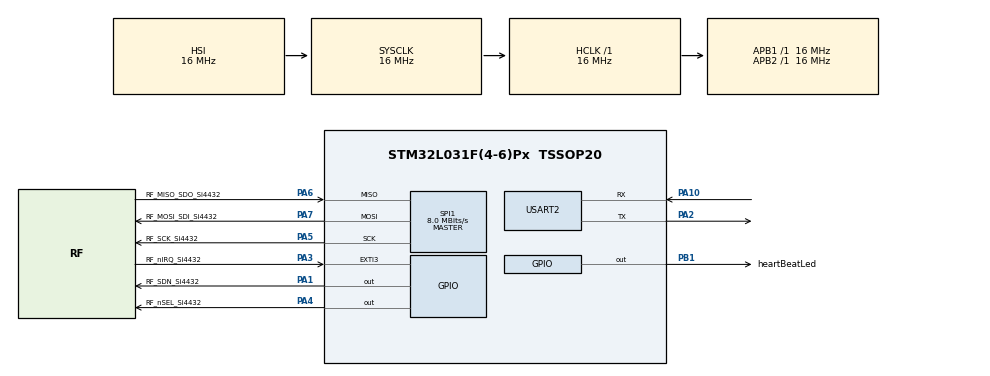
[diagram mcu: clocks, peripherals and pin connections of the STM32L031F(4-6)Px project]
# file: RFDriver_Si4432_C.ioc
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Mcu.Family=STM32L0
Mcu.Name=STM32L031F(4-6)Px
Mcu.Package=TSSOP20
Mcu.UserConstants=debugUart,$$_USART2_IP_HANDLE_$$;THS_RTC_I2C,$$_I2C1_IP_HANDLE_$$;RF_SPI,$$_SPI1_IP_HANDLE_$$
NVIC.EXTI2_3_IRQn=true\:0\:0\:false\:false\:true\:true\:true\:true
PA1.GPIO_Label=RF_SDN_Si4432
PA1.GPIO_PuPd=GPIO_PULLUP
PA1.Signal=GPIO_Output
PA10.Mode=Asynchronous
PA10.Signal=USART2_RX
PA13.Mode=Serial_Wire
PA13.Signal=SYS_SWDIO
PA14.Mode=Serial_Wire
PA14.Signal=SYS_SWCLK
PA2.Mode=Asynchronous
PA2.Signal=USART2_TX
PA3.GPIO_Label=RF_nIRQ_Si4432
PA3.GPIO_ModeDefaultEXTI=GPIO_MODE_IT_FALLING
PA3.GPIO_PuPd=GPIO_PULLUP
PA3.Signal=GPXTI3
PA4.GPIO_Label=RF_nSEL_Si4432
PA4.Signal=GPIO_Output
PA5.GPIO_Label=RF_SCK_Si4432
PA5.Mode=Full_Duplex_Master
PA5.Signal=SPI1_SCK
PA6.GPIO_Label=RF_MISO_SDO_Si4432
PA6.GPIO_PuPd=GPIO_PULLUP
PA6.Mode=Full_Duplex_Master
PA6.Signal=SPI1_MISO
PA7.GPIO_Label=RF_MOSI_SDI_Si4432
PA7.Mode=Full_Duplex_Master
PA7.Signal=SPI1_MOSI
PB1.GPIO_Label=heartBeatLed
PB1.Signal=GPIO_Output
PC14-OSC32_IN.Mode=LSE-External-Oscillator
PC14-OSC32_IN.Signal=RCC_OSC32_IN
PC15-OSC32_OUT.Mode=LSE-External-Oscillator
PC15-OSC32_OUT.Signal=RCC_OSC32_OUT
ProjectManager.HeapSize=0x200
ProjectManager.StackSize=0x400
ProjectManager.TargetToolchain=STM32CubeIDE
RCC.AHBFreq_Value=16000000
RCC.APB1Freq_Value=16000000
RCC.APB1TimFreq_Value=16000000
RCC.APB2Freq_Value=16000000
RCC.APB2TimFreq_Value=16000000
RCC.HCLKFreq_Value=16000000
RCC.HSE_VALUE=8000000
RCC.HSI16_VALUE=16000000
RCC.HSI_VALUE=16000000
RCC.MSIClockRange=RCC_MSIRANGE_6
RCC.MSI_VALUE=4194000
RCC.SYSCLKFreq_VALUE=16000000
RCC.SYSCLKSource=RCC_SYSCLKSOURCE_HSI
RCC.VCOOutputFreq_Value=48000000
SPI1.BaudRatePrescaler=SPI_BAUDRATEPRESCALER_2
SPI1.CalculateBaudRate=8.0 MBits/s
SPI1.Direction=SPI_DIRECTION_2LINES
SPI1.Mode=SPI_MODE_MASTER
SPI1.VirtualType=VM_MASTER
USART2.VirtualMode-Asynchronous=VM_ASYNC
board=custom

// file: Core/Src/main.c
/* USER CODE BEGIN Header */
/**
  ******************************************************************************
  * @file           : main.c
  * @brief          : Main program body
  ******************************************************************************
  * @attention
  *
  * Copyright (c) 2024 STMicroelectronics.
  * All rights reserved.
  *
  * This software is licensed under terms that can be found in the LICENSE file
  * in the root directory of this software component.
  * If no LICENSE file comes with this software, it is provided AS-IS.
  *
  ******************************************************************************
  */
/* USER CODE END Header */
#include "main.h"

/* USER CODE BEGIN Includes */
#include <RFDriver_Si4432.h>
#include <string.h>
#include <stdio.h>
#include <stdlib.h>

#include <Timer_milliseconds.h>

#define TRANSMIT
//#define RECEIVE

/* USER CODE END Includes */

SPI_HandleTypeDef hspi1;

UART_HandleTypeDef huart2;

void SystemClock_Config(void);
static void MX_GPIO_Init(void);
static void MX_SPI1_Init(void);
static void MX_USART2_UART_Init(void);

/* USER CODE BEGIN 0 */
/* LOG UART BUFFER VARIABLE */
char		msg[500]	=	{0};

/* HEART BEAT LED VARIABLES BEGINS */
uint32_t	heartBeatEpoch		=	0,
			heartBeatDuration	=	750;
/* HEART BEAT LED VARIABLES ENDS */

/* --------------------- [RF Variables STARTs] ---------------------------*/

uint32_t	rfModuleBatteryLevelEpoch		=	0,
			rfModuleBatteryLevelDuration	=	10;
/* ---------------------- [RF Variables ENDs] ----------------------------*/

///*---------------------------------- [LOG UART Function STARTs] -----------------------------------*/
///
UART_HandleTypeDef* LOGUart;
void LOGInit(UART_HandleTypeDef* huart)
{
	LOGUart = huart;
}
/// LOG Function.
void LOG(char* buffer)
{
	HAL_UART_Transmit(LOGUart, (const uint8_t*)buffer, strlen(buffer), 1000);
	memset(buffer, 0, strlen(buffer));
}
///*^^^^^^^^^^^^^^^^^^^^^^^^^^^^^^^^^^^ [LOG UART Function ENDs] ^^^^^^^^^^^^^^^^^^^^^^^^^^^^^^^^^^^^*/

/* USER CODE END 0 */

int main(void)
{

  /* MCU Configuration--------------------------------------------------------*/

  /* Reset of all peripherals, Initializes the Flash interface and the Systick. */
  HAL_Init();

  /* Configure the system clock */
  SystemClock_Config();

  /* Initialize all configured peripherals */
  MX_GPIO_Init();
  MX_SPI1_Init();
  MX_USART2_UART_Init();
  /* USER CODE BEGIN 2 */
  LOGInit(&debugUart);

    /** Initialize RF Driver Module **/
    RFDriver_Si4432_begin(	&RF_SPI,
  		  	  	  	  		RF_nSEL_Si4432_GPIO_Port, 	RF_nSEL_Si4432_Pin,
							RF_SDN_Si4432_GPIO_Port,	RF_SDN_Si4432_Pin,
							RF_nIRQ_Si4432_GPIO_Port,	RF_nIRQ_Si4432_Pin
    	  	  	  	  	  );

    #if !defined(noDelay)
    HAL_Delay(100);
    #endif

    /**	Use this function to Set Frequency	**/
    /**	By Default it is Set to 433 MHz		**/
    //RF.setFrequency(433);

    /** Read Frequency Settings **/
    float freq		=	0;
    float freqOffset	=	0;
    readFrequencySettings(&freq, &freqOffset);
    sprintf(	msg,
  			"Frequency is Set: %ld.%ld \t\t Frequency Offset: %ld\r\n",
  			((uint32_t)(freq)),
  			((uint32_t)(freq*1000)%1000),
  			(int32_t)freqOffset
    );
    LOG(msg);

  ///*------------------------------- [ RF Module Testing One Time Run Code BEGINs ] -----------------------------*/
     #ifdef TRANSMIT
        uint32_t txTime	=	0;
     #endif

     #ifdef RECEIVE
        uint32_t rxTime	=	0;
     #endif

  ///*------------------------------- [ RX Part Testing One Time Run Code BEGINs ] -----------------------------*/
  startListening();
  ///*^^^^^^^^^^^^^^^^^^^^^^^^^^^^^^^^^ [RX Part Testing One Time Run Code ENDs ] ^^^^^^^^^^^^^^^^^^^^^^^^^^^^^^*/

  ///*^^^^^^^^^^^^^^^^^^^^^^^^^^^^^^^^^^^ [RF Module One Time Run Code Testing ENDs ] ^^^^^^^^^^^^^^^^^^^^^^^^^^^^^^^^^^^^*/

  /* USER CODE END 2 */

  /* Infinite loop */
  /* USER CODE BEGIN WHILE */
  while (1)
  {
	  ///*-------------------------------- [ Heart Beat LED BEGINs ] -------------------------------*/
	  if(timerCompleted(&heartBeatEpoch, &heartBeatDuration))
	  {
		  HAL_GPIO_TogglePin(heartBeatLed_GPIO_Port, heartBeatLed_Pin);
		  HAL_Delay(0);
	  }
	  ///*^^^^^^^^^^^^^^^^^^^^^^^^^^^^^^^^^ [ Heart Beat LED ENDs ] ^^^^^^^^^^^^^^^^^^^^^^^^^^^^^^^^*/
	  ///
	  ///*------------------------------- [ RF Module Testing BEGINs ] -----------------------------*/
	  //		if(timerCompleted(&rfModuleBatteryLevelEpoch, &rfModuleBatteryLevelDuration))
	  //		{
	  //			uint8_t devType = 0, devVersion = 0;
	  //			uint8_t batLevel = 0.0;
	  //			RF.getDeviceType(&devType);
	  //			RF.getDeviceVersion(&devVersion);
	  //			RF.getBatteryLevel(&batLevel);
	  ////			uint16_t battLevel = (uint16_t)(batLevel * 100);
	  //			sprintf(msg,
	  //						"Battery Level: %d %% \t Device Type ID: 0x%x \t Device Version: 0x%x\r\n",
	  //						(uint8_t)(batLevel) ,
	  //						devType, devVersion
	  //					);
	  //			LOG(msg);
	  //		}
	  ///*------------------------------- [ TX Part Testing BEGINs ] -----------------------------*/
	  #ifdef TRANSMIT
	  if(timerCompleted(&rfModuleBatteryLevelEpoch, &rfModuleBatteryLevelDuration))
	  {
		  uint8_t txFifoData[]	=	{ 	0x50, 0x51, 0x52, 0x53, 0x54, 0x55, 0x56, 0x57, 0x58, 0x59, 0x5a, 0x5b, 0x5c, 0x5d, 0x5e, 0x5f,
				  0x60, 0x61, 0x62, 0x63, 0x64, 0x65, 0x66, 0x67, 0x68, 0x69, 0x6a, 0x6b, 0x6c, 0x6d, 0x6e, 0x6f,
				  0x70, 0x71, 0x72, 0x73, 0x74, 0x75, 0x76, 0x77, 0x78, 0x79, 0x7a, 0x7b, 0x7c, 0x7d, 0x7e, 0x7f,
				  0x80, 0x81, 0x82, 0x83, 0x84, 0x85, 0x86, 0x87, 0x88, 0x89, 0x8a, 0x8b, 0x8c, 0x8d, 0x8e, 0x8f
		  };
		  uint8_t rxFifoData[64]	=	{ 0 };
		  uint8_t rxFifoSize	=	0;
		  _Bool txResponse = sendDataPacket_getResponse(txFifoData, sizeof(txFifoData), SET, 500, rxFifoData, &rxFifoSize);
		  if(txResponse)
		  {
			  uint8_t txRSSI	=	0;
			  getRSSI(&txRSSI);
			  sprintf(	msg,
					  "\n-----Data Received-----\n RSSI: %d dB\n Time Duration: %lu\nData: \r\n ",
					  txRSSI,
					  (HAL_GetTick()	-	txTime)
			  ); LOG(msg);

			  uint8_t size = 0;

			  for(uint8_t i = 0; i < rxFifoSize; i++)
			  {
				  char str[20];
				  size_t len = sprintf(str, "%02X, ", rxFifoData[i]);
				  for(uint8_t j = 0; j < len; j++)
					  msg[(uint8_t)size+j]	=	str[j];
				  size+=(uint8_t)len;
			  }
			  LOG(msg);
			  sprintf(	msg,
					  "\n\r\n"
			  );LOG(msg);

			  txTime	=	HAL_GetTick();

		  }
		  else
		  {
			  sprintf(	msg,
					  "Not Acknowledged! \r\n "
			  );
			  LOG(msg);
		  }
	  }
	  #endif /* TRANSMIT */
	  ///*^^^^^^^^^^^^^^^^^^^^^^^^^^^^^^^^^^^ [TX Part Testing ENDs ] ^^^^^^^^^^^^^^^^^^^^^^^^^^^^^^^^^^^^*/

	  ///*------------------------------- [ RX Part Testing BEGINs ] -----------------------------*/
	  #ifdef RECEIVE

	  //			HAL_Delay(0);
	  _Bool rxResponse = isDataPacketReceived();
	  if(rxResponse)
	  {
		  uint8_t rxData[64]	=	{ 0 };
		  uint8_t rxDataSize	=	0;
		  getReceivedDataPacket(rxData, &rxDataSize);
		  uint8_t rxRSSI	=	0;
		  getRSSI(&rxRSSI);
		  sprintf(	msg,
				  "\n-----Data Received-----\n RSSI: %d dB\n Time Duration: %lu\nData: \r\n ",
				  rxRSSI,
				  (HAL_GetTick()	-	rxTime)
		  ); LOG(msg);

		  uint8_t size = 0;

		  for(uint8_t i = 0; i < rxDataSize; i++)
		  {
			  char str[20];
			  size_t len = sprintf(str, "%02X, ", rxData[i]);
			  for(uint8_t j = 0; j < len; j++)
				  msg[(uint8_t)size+j]	=	str[j];
			  size+=(uint8_t)len;
		  }	LOG(msg);

		  rxTime	=	HAL_GetTick();

		  uint8_t txResponseData[]	=	{ 0xAE, 0x26, 0xD8, 0x93 };
		  //							{ 	0x50, 0x51, 0x52, 0x53, 0x54, 0x55, 0x56, 0x57, 0x58, 0x59, 0x5a, 0x5b, 0x5c, 0x5d, 0x5e, 0x5f,
		  //								0x60, 0x61, 0x62, 0x63, 0x64, 0x65, 0x66, 0x67, 0x68, 0x69, 0x6a, 0x6b, 0x6c, 0x6d, 0x6e, 0x6f,
		  //								0x70, 0x71, 0x72, 0x73, 0x74, 0x75, 0x76, 0x77, 0x78, 0x79, 0x7a, 0x7b, 0x7c, 0x7d, 0x7e, 0x7f,
		  //								0x80, 0x81, 0x82, 0x83, 0x84, 0x85, 0x86, 0x87, 0x88, 0x89, 0x8a, 0x8b, 0x8c, 0x8d, 0x8e, 0x8f
		  //							};

		  //HAL_Delay(200);
		  while(!sendDataPacket(txResponseData, sizeof(txResponseData)));// HAL_Delay(1);

		  sprintf(
				  msg,
				  "\n^^^^^ Response Sent ^^^^^\r\n "
		  ); LOG(msg);

		  startListening();
	  }
	  #endif /* RECEIVE */
	  ///*^^^^^^^^^^^^^^^^^^^^^^^^^^^^^^^^^^^ [RX Part Testing ENDs ] ^^^^^^^^^^^^^^^^^^^^^^^^^^^^^^^^^^^^*/

	  ///*^^^^^^^^^^^^^^^^^^^^^^^^^^^^^^^^^^^ [RF Module Testing ENDs ] ^^^^^^^^^^^^^^^^^^^^^^^^^^^^^^^^^^^^*/
    /* USER CODE END WHILE */

  }
}

void SystemClock_Config(void)
{
  RCC_OscInitTypeDef RCC_OscInitStruct = {0};
  RCC_ClkInitTypeDef RCC_ClkInitStruct = {0};
  RCC_PeriphCLKInitTypeDef PeriphClkInit = {0};

  /** Configure the main internal regulator output voltage
  */
  __HAL_PWR_VOLTAGESCALING_CONFIG(PWR_REGULATOR_VOLTAGE_SCALE1);

  /** Initializes the RCC Oscillators according to the specified parameters
  * in the RCC_OscInitTypeDef structure.
  */
  RCC_OscInitStruct.OscillatorType = RCC_OSCILLATORTYPE_HSI;
  RCC_OscInitStruct.HSIState = RCC_HSI_ON;
  RCC_OscInitStruct.HSICalibrationValue = RCC_HSICALIBRATION_DEFAULT;
  RCC_OscInitStruct.PLL.PLLState = RCC_PLL_NONE;
  if (HAL_RCC_OscConfig(&RCC_OscInitStruct) != HAL_OK)
  {
    Error_Handler();
  }

  /** Initializes the CPU, AHB and APB buses clocks
  */
  RCC_ClkInitStruct.ClockType = RCC_CLOCKTYPE_HCLK|RCC_CLOCKTYPE_SYSCLK
                              |RCC_CLOCKTYPE_PCLK1|RCC_CLOCKTYPE_PCLK2;
  RCC_ClkInitStruct.SYSCLKSource = RCC_SYSCLKSOURCE_HSI;
  RCC_ClkInitStruct.AHBCLKDivider = RCC_SYSCLK_DIV1;
  RCC_ClkInitStruct.APB1CLKDivider = RCC_HCLK_DIV1;
  RCC_ClkInitStruct.APB2CLKDivider = RCC_HCLK_DIV1;

  if (HAL_RCC_ClockConfig(&RCC_ClkInitStruct, FLASH_LATENCY_0) != HAL_OK)
  {
    Error_Handler();
  }
  PeriphClkInit.PeriphClockSelection = RCC_PERIPHCLK_USART2;
  PeriphClkInit.Usart2ClockSelection = RCC_USART2CLKSOURCE_PCLK1;
  if (HAL_RCCEx_PeriphCLKConfig(&PeriphClkInit) != HAL_OK)
  {
    Error_Handler();
  }
}

static void MX_SPI1_Init(void)
{

  /* SPI1 parameter configuration*/
  hspi1.Instance = SPI1;
  hspi1.Init.Mode = SPI_MODE_MASTER;
  hspi1.Init.Direction = SPI_DIRECTION_2LINES;
  hspi1.Init.DataSize = SPI_DATASIZE_8BIT;
  hspi1.Init.CLKPolarity = SPI_POLARITY_LOW;
  hspi1.Init.CLKPhase = SPI_PHASE_1EDGE;
  hspi1.Init.NSS = SPI_NSS_SOFT;
  hspi1.Init.BaudRatePrescaler = SPI_BAUDRATEPRESCALER_2;
  hspi1.Init.FirstBit = SPI_FIRSTBIT_MSB;
  hspi1.Init.TIMode = SPI_TIMODE_DISABLE;
  hspi1.Init.CRCCalculation = SPI_CRCCALCULATION_DISABLE;
  hspi1.Init.CRCPolynomial = 7;
  if (HAL_SPI_Init(&hspi1) != HAL_OK)
  {
    Error_Handler();
  }

}

static void MX_USART2_UART_Init(void)
{

  huart2.Instance = USART2;
  huart2.Init.BaudRate = 115200;
  huart2.Init.WordLength = UART_WORDLENGTH_8B;
  huart2.Init.StopBits = UART_STOPBITS_1;
  huart2.Init.Parity = UART_PARITY_NONE;
  huart2.Init.Mode = UART_MODE_TX_RX;
  huart2.Init.HwFlowCtl = UART_HWCONTROL_NONE;
  huart2.Init.OverSampling = UART_OVERSAMPLING_16;
  huart2.Init.OneBitSampling = UART_ONE_BIT_SAMPLE_DISABLE;
  huart2.AdvancedInit.AdvFeatureInit = UART_ADVFEATURE_NO_INIT;
  if (HAL_UART_Init(&huart2) != HAL_OK)
  {
    Error_Handler();
  }

}

static void MX_GPIO_Init(void)
{
  GPIO_InitTypeDef GPIO_InitStruct = {0};

  /* GPIO Ports Clock Enable */
  __HAL_RCC_GPIOC_CLK_ENABLE();
  __HAL_RCC_GPIOA_CLK_ENABLE();
  __HAL_RCC_GPIOB_CLK_ENABLE();

  /*Configure GPIO pin Output Level */
  HAL_GPIO_WritePin(GPIOA, RF_SDN_Si4432_Pin|RF_nSEL_Si4432_Pin, GPIO_PIN_RESET);

  /*Configure GPIO pin Output Level */
  HAL_GPIO_WritePin(heartBeatLed_GPIO_Port, heartBeatLed_Pin, GPIO_PIN_RESET);

  /*Configure GPIO pin : RF_SDN_Si4432_Pin */
  GPIO_InitStruct.Pin = RF_SDN_Si4432_Pin;
  GPIO_InitStruct.Mode = GPIO_MODE_OUTPUT_PP;
  GPIO_InitStruct.Pull = GPIO_PULLUP;
  GPIO_InitStruct.Speed = GPIO_SPEED_FREQ_LOW;
  HAL_GPIO_Init(RF_SDN_Si4432_GPIO_Port, &GPIO_InitStruct);

  /*Configure GPIO pin : RF_nIRQ_Si4432_Pin */
  GPIO_InitStruct.Pin = RF_nIRQ_Si4432_Pin;
  GPIO_InitStruct.Mode = GPIO_MODE_IT_FALLING;
  GPIO_InitStruct.Pull = GPIO_PULLUP;
  HAL_GPIO_Init(RF_nIRQ_Si4432_GPIO_Port, &GPIO_InitStruct);

  /*Configure GPIO pin : RF_nSEL_Si4432_Pin */
  GPIO_InitStruct.Pin = RF_nSEL_Si4432_Pin;
  GPIO_InitStruct.Mode = GPIO_MODE_OUTPUT_PP;
  GPIO_InitStruct.Pull = GPIO_NOPULL;
  GPIO_InitStruct.Speed = GPIO_SPEED_FREQ_LOW;
  HAL_GPIO_Init(RF_nSEL_Si4432_GPIO_Port, &GPIO_InitStruct);

  /*Configure GPIO pin : heartBeatLed_Pin */
  GPIO_InitStruct.Pin = heartBeatLed_Pin;
  GPIO_InitStruct.Mode = GPIO_MODE_OUTPUT_PP;
  GPIO_InitStruct.Pull = GPIO_NOPULL;
  GPIO_InitStruct.Speed = GPIO_SPEED_FREQ_LOW;
  HAL_GPIO_Init(heartBeatLed_GPIO_Port, &GPIO_InitStruct);

  /* EXTI interrupt init*/
  HAL_NVIC_SetPriority(EXTI2_3_IRQn, 0, 0);
  HAL_NVIC_EnableIRQ(EXTI2_3_IRQn);

}

void Error_Handler(void)
{
  __disable_irq();
  while (1)
  {
  }
}
